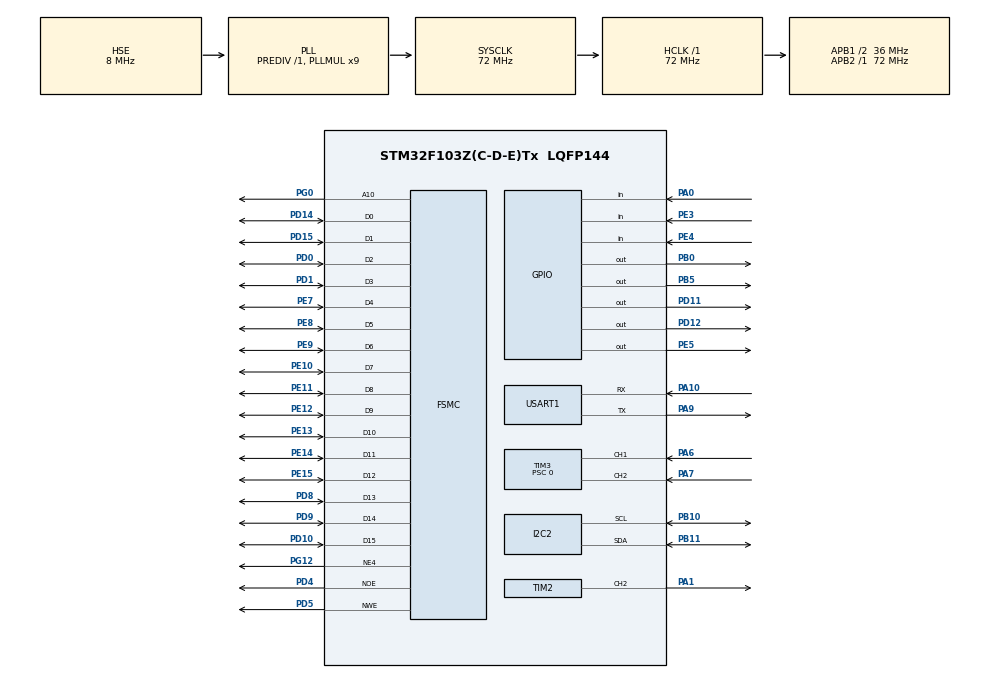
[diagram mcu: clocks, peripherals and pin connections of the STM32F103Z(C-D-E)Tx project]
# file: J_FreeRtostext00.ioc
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FREERTOS.Tasks01=defaultTask,24,128,StartDefaultTask,Default,NULL,Dynamic,NULL,NULL;myTask02,8,128,StartTask02,Default,NULL,Dynamic,NULL,NULL;myTask03,8,128,StartTask03,Default,NULL,Dynamic,NULL,NULL
FSMC.AddressSetupTime4=2
FSMC.BusTurnAroundDuration4=0
FSMC.DataSetupTime4=16
FSMC.ExtendedAddressSetupTime4=4
FSMC.ExtendedBusTurnAroundDuration4=0
FSMC.ExtendedDataSetupTime4=9
FSMC.ExtendedMode4=FSMC_EXTENDED_MODE_ENABLE
I2C2.I2C_Mode=I2C_Fast
Mcu.Family=STM32F1
Mcu.Name=STM32F103Z(C-D-E)Tx
Mcu.Package=LQFP144
NVIC.PriorityGroup=NVIC_PRIORITYGROUP_4
NVIC.TIM3_IRQn=true\:5\:0\:false\:false\:true\:true\:true\:true\:true
NVIC.TIM8_UP_IRQn=true\:15\:0\:false\:false\:true\:false\:false\:true\:true
NVIC.TimeBase=TIM8_UP_IRQn
NVIC.TimeBaseIP=TIM8
OSC_IN.Mode=HSE-External-Oscillator
OSC_IN.Signal=RCC_OSC_IN
OSC_OUT.Mode=HSE-External-Oscillator
OSC_OUT.Signal=RCC_OSC_OUT
PA0-WKUP.GPIO_PuPd=GPIO_PULLDOWN
PA0-WKUP.Signal=GPIO_Input
PA1.Signal=S_TIM2_CH2
PA10.Mode=Asynchronous
PA10.Signal=USART1_RX
PA13.Mode=Serial_Wire
PA13.Signal=SYS_JTMS-SWDIO
PA14.Mode=Serial_Wire
PA14.Signal=SYS_JTCK-SWCLK
PA6.Signal=S_TIM3_CH1
PA7.Signal=S_TIM3_CH2
PA9.Mode=Asynchronous
PA9.Signal=USART1_TX
PB0.GPIO_PuPd=GPIO_PULLDOWN
PB0.Signal=GPIO_Output
PB10.Mode=I2C
PB10.Signal=I2C2_SCL
PB11.Mode=I2C
PB11.Signal=I2C2_SDA
PB5.PinState=GPIO_PIN_SET
PB5.Signal=GPIO_Output
PC14-OSC32_IN.Mode=LSE-External-Oscillator
PC14-OSC32_IN.Signal=RCC_OSC32_IN
PC15-OSC32_OUT.Mode=LSE-External-Oscillator
PC15-OSC32_OUT.Signal=RCC_OSC32_OUT
PD0.Signal=FSMC_D2_DA2
PD1.Signal=FSMC_D3_DA3
PD10.Signal=FSMC_D15_DA15
PD11.Signal=GPIO_Output
PD12.Signal=GPIO_Output
PD14.Signal=FSMC_D0_DA0
PD15.Signal=FSMC_D1_DA1
PD4.Signal=FSMC_NOE
PD5.Signal=FSMC_NWE
PD8.Signal=FSMC_D13_DA13
PD9.Signal=FSMC_D14_DA14
PE10.Signal=FSMC_D7_DA7
PE11.Signal=FSMC_D8_DA8
PE12.Signal=FSMC_D9_DA9
PE13.Signal=FSMC_D10_DA10
PE14.Signal=FSMC_D11_DA11
PE15.Signal=FSMC_D12_DA12
PE3.Signal=GPIO_Input
PE4.Signal=GPIO_Input
PE5.PinState=GPIO_PIN_SET
PE5.Signal=GPIO_Output
PE7.Signal=FSMC_D4_DA4
PE8.Signal=FSMC_D5_DA5
PE9.Signal=FSMC_D6_DA6
PG0.Signal=FSMC_A10
PG12.Mode=NorPsramChipSelect4_4
PG12.Signal=FSMC_NE4
ProjectManager.HeapSize=0x200
ProjectManager.StackSize=0x400
ProjectManager.TargetToolchain=MDK-ARM V5.32
RCC.AHBFreq_Value=72000000
RCC.APB1CLKDivider=RCC_HCLK_DIV2
RCC.APB1Freq_Value=36000000
RCC.APB1TimFreq_Value=72000000
RCC.APB2Freq_Value=72000000
RCC.APB2TimFreq_Value=72000000
RCC.HCLKFreq_Value=72000000
RCC.PLLMUL=RCC_PLL_MUL9
RCC.PLLSourceVirtual=RCC_PLLSOURCE_HSE
RCC.SYSCLKFreq_VALUE=72000000
RCC.SYSCLKSource=RCC_SYSCLKSOURCE_PLLCLK
RCC.USBFreq_Value=72000000
SH.FSMC_A10.0=FSMC_A10,A10_4
SH.FSMC_D0_DA0.0=FSMC_D0,16b-d4
SH.FSMC_D10_DA10.0=FSMC_D10,16b-d4
SH.FSMC_D11_DA11.0=FSMC_D11,16b-d4
SH.FSMC_D12_DA12.0=FSMC_D12,16b-d4
SH.FSMC_D13_DA13.0=FSMC_D13,16b-d4
SH.FSMC_D14_DA14.0=FSMC_D14,16b-d4
SH.FSMC_D15_DA15.0=FSMC_D15,16b-d4
SH.FSMC_D1_DA1.0=FSMC_D1,16b-d4
SH.FSMC_D2_DA2.0=FSMC_D2,16b-d4
SH.FSMC_D3_DA3.0=FSMC_D3,16b-d4
SH.FSMC_D4_DA4.0=FSMC_D4,16b-d4
SH.FSMC_D5_DA5.0=FSMC_D5,16b-d4
SH.FSMC_D6_DA6.0=FSMC_D6,16b-d4
SH.FSMC_D7_DA7.0=FSMC_D7,16b-d4
SH.FSMC_D8_DA8.0=FSMC_D8,16b-d4
SH.FSMC_D9_DA9.0=FSMC_D9,16b-d4
SH.FSMC_NOE.0=FSMC_NOE,Lcd4
SH.FSMC_NWE.0=FSMC_NWE,Lcd4
SH.S_TIM2_CH2.0=TIM2_CH2,PWM Generation2 CH2
SH.S_TIM3_CH1.0=TIM3_CH1,Encoder_Interface
SH.S_TIM3_CH2.0=TIM3_CH2,Encoder_Interface
TIM2.Channel-PWM\ Generation2\ CH2=TIM_CHANNEL_2
TIM2.Period=100-1
TIM2.Prescaler=720-1
TIM3.EncoderMode=TIM_ENCODERMODE_TI12
TIM3.Prescaler=0
USART1.VirtualMode=VM_ASYNC
VP_FREERTOS_VS_CMSIS_V2.Mode=CMSIS_V2
VP_SYS_VS_tim8.Mode=TIM8
VP_TIM2_VS_ClockSourceINT.Mode=Internal
board=custom

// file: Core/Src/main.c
/* USER CODE BEGIN Header */
/**
  ******************************************************************************
  * @file           : main.c
  * @brief          : Main program body
  ******************************************************************************
  * @attention
  *
  * Copyright (c) 2025 STMicroelectronics.
  * All rights reserved.
  *
  * This software is licensed under terms that can be found in the LICENSE file
  * in the root directory of this software component.
  * If no LICENSE file comes with this software, it is provided AS-IS.
  *
  ******************************************************************************
  */
/* USER CODE END Header */
#include "main.h"
#include "cmsis_os.h"
#include "i2c.h"
#include "tim.h"
#include "usart.h"
#include "gpio.h"
#include "fsmc.h"

/* USER CODE BEGIN Includes */
#include "headfile.h"

/* USER CODE END Includes */

void SystemClock_Config(void);
void MX_FREERTOS_Init(void);

int main(void)
{

  /* MCU Configuration--------------------------------------------------------*/

  /* Reset of all peripherals, Initializes the Flash interface and the Systick. */
  HAL_Init();

  /* Configure the system clock */
  SystemClock_Config();

  /* Initialize all configured peripherals */
  MX_GPIO_Init();
  MX_USART1_UART_Init();
  MX_FSMC_Init();
  MX_I2C2_Init();
  MX_TIM2_Init();
  MX_TIM3_Init();
  /* USER CODE BEGIN 2 */
  LCD_Init();
  LCD_DisplayOn();
  LCD_Clear(WHITE);
//      POINT_COLOR = WHITE;
//    //BACK_COLOR = WHITE;
  HAL_GPIO_WritePin(GPIOB, GPIO_PIN_0, GPIO_PIN_SET);/*lcdʹ��*/
OLEDINIT();
Motor_Control_Init();
//HAL_TIM_Base_Start_IT(&htim5);
Set_Motor_Direction(1);
  /* USER CODE END 2 */

  /* Init scheduler */
  osKernelInitialize();

  /* Call init function for freertos objects (in cmsis_os2.c) */
  MX_FREERTOS_Init();

  /* Start scheduler */
  osKernelStart();

  /* We should never get here as control is now taken by the scheduler */

  /* Infinite loop */
  while (1)
  {

  }
}

void SystemClock_Config(void)
{
  RCC_OscInitTypeDef RCC_OscInitStruct = {0};
  RCC_ClkInitTypeDef RCC_ClkInitStruct = {0};

  /** Initializes the RCC Oscillators according to the specified parameters
  * in the RCC_OscInitTypeDef structure.
  */
  RCC_OscInitStruct.OscillatorType = RCC_OSCILLATORTYPE_HSE;
  RCC_OscInitStruct.HSEState = RCC_HSE_ON;
  RCC_OscInitStruct.HSEPredivValue = RCC_HSE_PREDIV_DIV1;
  RCC_OscInitStruct.HSIState = RCC_HSI_ON;
  RCC_OscInitStruct.PLL.PLLState = RCC_PLL_ON;
  RCC_OscInitStruct.PLL.PLLSource = RCC_PLLSOURCE_HSE;
  RCC_OscInitStruct.PLL.PLLMUL = RCC_PLL_MUL9;
  if (HAL_RCC_OscConfig(&RCC_OscInitStruct) != HAL_OK)
  {
    Error_Handler();
  }

  /** Initializes the CPU, AHB and APB buses clocks
  */
  RCC_ClkInitStruct.ClockType = RCC_CLOCKTYPE_HCLK|RCC_CLOCKTYPE_SYSCLK
                              |RCC_CLOCKTYPE_PCLK1|RCC_CLOCKTYPE_PCLK2;
  RCC_ClkInitStruct.SYSCLKSource = RCC_SYSCLKSOURCE_PLLCLK;
  RCC_ClkInitStruct.AHBCLKDivider = RCC_SYSCLK_DIV1;
  RCC_ClkInitStruct.APB1CLKDivider = RCC_HCLK_DIV2;
  RCC_ClkInitStruct.APB2CLKDivider = RCC_HCLK_DIV1;

  if (HAL_RCC_ClockConfig(&RCC_ClkInitStruct, FLASH_LATENCY_2) != HAL_OK)
  {
    Error_Handler();
  }
}

void HAL_TIM_PeriodElapsedCallback(TIM_HandleTypeDef *htim)
{
  /* USER CODE BEGIN Callback 0 */

//
//    if (htim->Instance == TIM5) {  // 10ms 定时器
//    Motor_Control_Update();
//    pulse_count_L = (int32_t)__HAL_TIM_GET_COUNTER(&htim3);  // 左电机编码器
//    __HAL_TIM_SET_COUNTER(&htim3, 0);  // 读取后清零计数器
//    Encoder_Update(&Encoder_L, pulse_count_L, 0.01f);  // 更新编码器速度
//}

  /* USER CODE END Callback 0 */
  if (htim->Instance == TIM8)
  {
    HAL_IncTick();
  }
}

void Error_Handler(void)
{
  __disable_irq();
  while (1)
  {
  }
}

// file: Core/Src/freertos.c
/* USER CODE BEGIN Header */
/**
  ******************************************************************************
  * File Name          : freertos.c
  * Description        : Code for freertos applications
  ******************************************************************************
  * @attention
  *
  * Copyright (c) 2025 STMicroelectronics.
  * All rights reserved.
  *
  * This software is licensed under terms that can be found in the LICENSE file
  * in the root directory of this software component.
  * If no LICENSE file comes with this software, it is provided AS-IS.
  *
  ******************************************************************************
  */
/* USER CODE END Header */

#include "FreeRTOS.h"
#include "task.h"
#include "main.h"
#include "cmsis_os.h"

/* USER CODE BEGIN Includes */
#include "headfile.h"
/* USER CODE END Includes */

/* Definitions for defaultTask */
osThreadId_t defaultTaskHandle;
const osThreadAttr_t defaultTask_attributes = {
  .name = "defaultTask",
  .stack_size = 128 * 4,
  .priority = (osPriority_t) osPriorityNormal,
};
/* Definitions for myTask02 */
osThreadId_t myTask02Handle;
const osThreadAttr_t myTask02_attributes = {
  .name = "myTask02",
  .stack_size = 128 * 4,
  .priority = (osPriority_t) osPriorityLow,
};
/* Definitions for myTask03 */
osThreadId_t myTask03Handle;
const osThreadAttr_t myTask03_attributes = {
  .name = "myTask03",
  .stack_size = 128 * 4,
  .priority = (osPriority_t) osPriorityLow,
};

void StartDefaultTask(void *argument);
void StartTask02(void *argument);
void StartTask03(void *argument);

void MX_FREERTOS_Init(void); /* (MISRA C 2004 rule 8.1) */

void MX_FREERTOS_Init(void) {

  /* Create the thread(s) */
  /* creation of defaultTask */
  defaultTaskHandle = osThreadNew(StartDefaultTask, NULL, &defaultTask_attributes);

  /* creation of myTask02 */
  myTask02Handle = osThreadNew(StartTask02, NULL, &myTask02_attributes);

  /* creation of myTask03 */
  myTask03Handle = osThreadNew(StartTask03, NULL, &myTask03_attributes);

}

void StartDefaultTask(void *argument)
{
  /* USER CODE BEGIN StartDefaultTask */
  /* Infinite loop */
  for(;;)
  {
    Motor_Control_Update();
    pulse_count_L = (int32_t)__HAL_TIM_GET_COUNTER(&htim3);  // 左电机编码器
    __HAL_TIM_SET_COUNTER(&htim3, 0);  // 读取后清零计数器
    Encoder_Update(&Encoder_L, pulse_count_L, 0.01f);  // 更新编码器速度

    osDelay(10);
  }
  /* USER CODE END StartDefaultTask */
}

void StartTask02(void *argument)
{
  /* USER CODE BEGIN StartTask02 */
  /* Infinite loop */
  for(;;)
  {
//14.4jy
//      lcd_show();
//      key_scan();
      PID_Incremental_Init(&Speed_Pid_L, kp, ki, kd, target_speed_L);
      key_scan1();
      OLED_show();
      printf("%.2f,%.2f,%d\n",output_L,target_speed_L,pulse_count_L);
      osDelay(30);
  }
  /* USER CODE END StartTask02 */
}

void StartTask03(void *argument)
{
  for(;;)
  {
      osDelay(1);
  }
}
